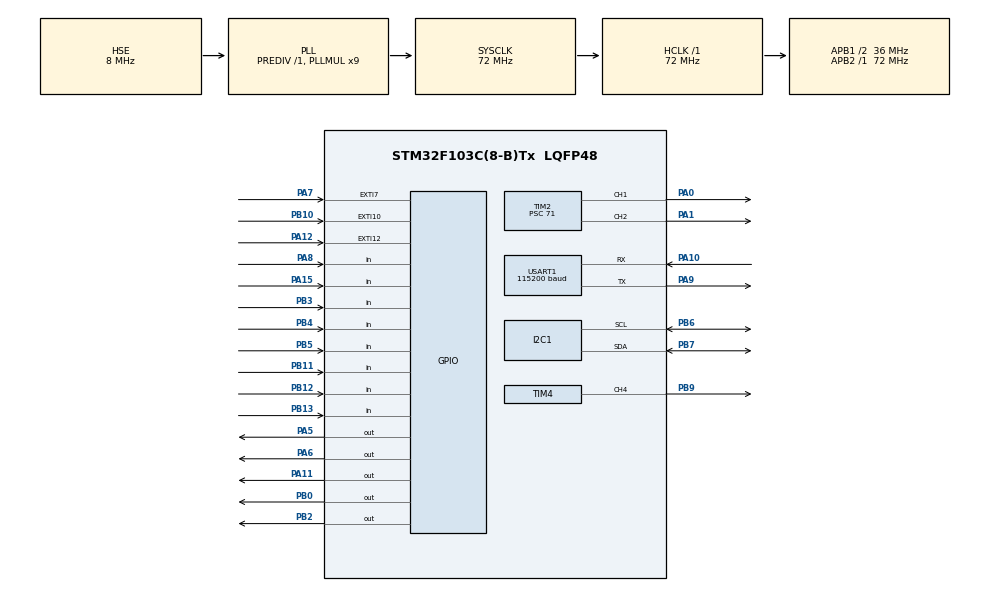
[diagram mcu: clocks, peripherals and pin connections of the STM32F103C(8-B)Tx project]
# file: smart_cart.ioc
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Mcu.Family=STM32F1
Mcu.Name=STM32F103C(8-B)Tx
Mcu.Package=LQFP48
NVIC.EXTI15_10_IRQn=true\:0\:0\:false\:false\:true\:true\:true\:true
NVIC.EXTI9_5_IRQn=true\:0\:0\:false\:false\:true\:true\:true\:true
NVIC.PriorityGroup=NVIC_PRIORITYGROUP_4
NVIC.TIM3_IRQn=true\:0\:0\:false\:false\:true\:true\:true\:true
NVIC.USART1_IRQn=true\:1\:0\:true\:false\:true\:true\:true\:true
PA0-WKUP.Signal=S_TIM2_CH1_ETR
PA1.Signal=S_TIM2_CH2
PA10.Mode=Asynchronous
PA10.Signal=USART1_RX
PA11.Signal=GPIO_Output
PA12.Signal=GPXTI12
PA13.Mode=Serial_Wire
PA13.Signal=SYS_JTMS-SWDIO
PA14.Mode=Serial_Wire
PA14.Signal=SYS_JTCK-SWCLK
PA15.Signal=GPIO_Input
PA5.Signal=GPIO_Output
PA6.Signal=GPIO_Output
PA7.GPIO_ModeDefaultEXTI=GPIO_MODE_IT_FALLING
PA7.Signal=GPXTI7
PA8.Signal=GPIO_Input
PA9.Mode=Asynchronous
PA9.Signal=USART1_TX
PB0.Signal=GPIO_Output
PB10.Signal=GPXTI10
PB11.GPIO_PuPd=GPIO_NOPULL
PB11.Signal=GPIO_Input
PB12.GPIO_PuPd=GPIO_NOPULL
PB12.Signal=GPIO_Input
PB13.GPIO_PuPd=GPIO_NOPULL
PB13.Signal=GPIO_Input
PB2.Signal=GPIO_Output
PB3.Signal=GPIO_Input
PB4.Signal=GPIO_Input
PB5.Signal=GPIO_Input
PB6.Mode=I2C
PB6.Signal=I2C1_SCL
PB7.Mode=I2C
PB7.Signal=I2C1_SDA
PB9.Signal=S_TIM4_CH4
PD0-OSC_IN.Mode=HSE-External-Oscillator
PD0-OSC_IN.Signal=RCC_OSC_IN
PD1-OSC_OUT.Mode=HSE-External-Oscillator
PD1-OSC_OUT.Signal=RCC_OSC_OUT
ProjectManager.HeapSize=0x200
ProjectManager.StackSize=0x400
ProjectManager.TargetToolchain=MDK-ARM V5.32
RCC.AHBFreq_Value=72000000
RCC.APB1CLKDivider=RCC_HCLK_DIV2
RCC.APB1Freq_Value=36000000
RCC.APB1TimFreq_Value=72000000
RCC.APB2Freq_Value=72000000
RCC.APB2TimFreq_Value=72000000
RCC.HCLKFreq_Value=72000000
RCC.PLLMUL=RCC_PLL_MUL9
RCC.PLLSourceVirtual=RCC_PLLSOURCE_HSE
RCC.SYSCLKFreq_VALUE=72000000
RCC.SYSCLKSource=RCC_SYSCLKSOURCE_PLLCLK
RCC.USBFreq_Value=72000000
SH.S_TIM2_CH1_ETR.0=TIM2_CH1,PWM Generation1 CH1
SH.S_TIM2_CH2.0=TIM2_CH2,PWM Generation2 CH2
SH.S_TIM4_CH4.0=TIM4_CH4,PWM Generation4 CH4
TIM1.AutoReloadPreload=TIM_AUTORELOAD_PRELOAD_ENABLE
TIM1.Prescaler=71
TIM1.RepetitionCounter=0
TIM2.AutoReloadPreload=TIM_AUTORELOAD_PRELOAD_ENABLE
TIM2.Channel-PWM\ Generation1\ CH1=TIM_CHANNEL_1
TIM2.Channel-PWM\ Generation2\ CH2=TIM_CHANNEL_2
TIM2.OCMode_PWM-PWM\ Generation1\ CH1=TIM_OCMODE_PWM1
TIM2.OCMode_PWM-PWM\ Generation2\ CH2=TIM_OCMODE_PWM1
TIM2.OCPolarity_1=TIM_OCPOLARITY_HIGH
TIM2.OCPolarity_2=TIM_OCPOLARITY_HIGH
TIM2.Period=19
TIM2.Prescaler=71
TIM3.AutoReloadPreload=TIM_AUTORELOAD_PRELOAD_ENABLE
TIM3.Period=9999
TIM3.Prescaler=7199
TIM4.AutoReloadPreload=TIM_AUTORELOAD_PRELOAD_ENABLE
TIM4.Channel-PWM\ Generation4\ CH4=TIM_CHANNEL_4
TIM4.Period=199
TIM4.Prescaler=7199
USART1.BaudRate=115200
USART1.VirtualMode=VM_ASYNC
VP_TIM1_VS_ClockSourceINT.Mode=Internal
VP_TIM2_VS_ClockSourceINT.Mode=Internal
VP_TIM3_VS_ClockSourceINT.Mode=Internal
VP_TIM4_VS_ClockSourceINT.Mode=Internal
board=custom

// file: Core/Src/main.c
/* USER CODE BEGIN Header */
/**
  ******************************************************************************
  * @file           : main.c
  * @brief          : Main program body
  ******************************************************************************
  * @attention
  *
  * Copyright (c) 2023 STMicroelectronics.
  * All rights reserved.
  *
  * This software is licensed under terms that can be found in the LICENSE file
  * in the root directory of this software component.
  * If no LICENSE file comes with this software, it is provided AS-IS.
  *
  ******************************************************************************
  */
/* USER CODE END Header */
#include "main.h"
#include "i2c.h"
#include "tim.h"
#include "usart.h"
#include "gpio.h"

/* USER CODE BEGIN Includes */
#include "car_function.h"
#include "motor.h"
#include "stdio.h"
#include "sensor.h"
#include "sg90.h"
#include "sr04.h"
#include "su03.h"
#include "oled.h"
#include "iic_paj7620.h"

/* USER CODE END Includes */

/* USER CODE BEGIN PM */
#define MIDDLE 0
#define LEFT 1
#define RIGHT 2
/* USER CODE END PM */

/* USER CODE BEGIN PV */
unsigned int speedCnt;
char speedString[24];
/* USER CODE END PV */

void SystemClock_Config(void);
/* USER CODE BEGIN PFP */
int fputc(int ch, FILE *file) {
	unsigned char temp[1] = {ch};
	HAL_UART_Transmit(&huart1, temp, 1, 0xfff);
	return ch;
}

void HAL_TIM_PeriodElapsedCallback(TIM_HandleTypeDef *htim) {
	// 展示速度
	//oled部分清屏
	sprintf(speedString, "speed:%4dcm/s", speedCnt);
	//old__clear_bottom_half();
	oled_show_string(2,2,speedString);
	speedCnt = 0;
}

void HAL_GPIO_EXTI_Callback(uint16_t GPIO_Pin) {
	//脉冲测速
	if(GPIO_Pin == GPIO_PIN_10) {
		if (HAL_GPIO_ReadPin(GPIOB, GPIO_PIN_10) == GPIO_PIN_RESET)
			speedCnt++;
	}
	//超声波echo
	if(GPIO_Pin == GPIO_PIN_12) {
		//while(HAL_GPIO_ReadPin(GPIOA, GPIO_PIN_12) == GPIO_PIN_RESET);
		HAL_TIM_Base_Start(&htim1);
		__HAL_TIM_SetCounter(&htim1, 0);

		while(HAL_GPIO_ReadPin(GPIOA, GPIO_PIN_12) == GPIO_PIN_SET);
		HAL_TIM_Base_Stop(&htim1);

		int cnt = __HAL_TIM_GetCounter(&htim1);
		distance = 340 * 0.000001 * cnt * 100 / 2;
	}
	//手势中断
	if(GPIO_Pin == GPIO_PIN_7) {
		uint16_t gCode = 0;
		gCode = paj7620_get_gesture();
		status = gCode;
		printf("%d====》", gCode);
	}

}
/* USER CODE END PFP */

int main(void)
{

  /* MCU Configuration--------------------------------------------------------*/

  /* Reset of all peripherals, Initializes the Flash interface and the Systick. */
  HAL_Init();

  /* Configure the system clock */
  SystemClock_Config();

  /* Initialize all configured peripherals */
  MX_GPIO_Init();
  MX_USART1_UART_Init();
  MX_TIM2_Init();
  MX_TIM4_Init();
  MX_TIM1_Init();
  MX_TIM3_Init();
  MX_I2C1_Init();
  /* USER CODE BEGIN 2 */
	init();
	changeMode(NORMAL);
  /* USER CODE END 2 */

  /* Infinite loop */
  while (1)
  {

    /* USER CODE BEGIN 3 */
		get_mode();
		reset();
		switch(runMode) {
			case tracingMode:
				traceing();
				break;
			case followMode:
				follow();
				break;
			case avoidMode:
				avoid();
				break;
			case gestureMode:
				gesture();
				break;
			case testMode:
				test();
				break;
			case stopMode:
				stop_car();
				break;
		}
		display_temp_humi();
  }

  /* USER CODE END 3 */
}

void SystemClock_Config(void)
{
  RCC_OscInitTypeDef RCC_OscInitStruct = {0};
  RCC_ClkInitTypeDef RCC_ClkInitStruct = {0};

  /** Initializes the RCC Oscillators according to the specified parameters
  * in the RCC_OscInitTypeDef structure.
  */
  RCC_OscInitStruct.OscillatorType = RCC_OSCILLATORTYPE_HSE;
  RCC_OscInitStruct.HSEState = RCC_HSE_ON;
  RCC_OscInitStruct.HSEPredivValue = RCC_HSE_PREDIV_DIV1;
  RCC_OscInitStruct.HSIState = RCC_HSI_ON;
  RCC_OscInitStruct.PLL.PLLState = RCC_PLL_ON;
  RCC_OscInitStruct.PLL.PLLSource = RCC_PLLSOURCE_HSE;
  RCC_OscInitStruct.PLL.PLLMUL = RCC_PLL_MUL9;
  if (HAL_RCC_OscConfig(&RCC_OscInitStruct) != HAL_OK)
  {
    Error_Handler();
  }

  /** Initializes the CPU, AHB and APB buses clocks
  */
  RCC_ClkInitStruct.ClockType = RCC_CLOCKTYPE_HCLK|RCC_CLOCKTYPE_SYSCLK
                              |RCC_CLOCKTYPE_PCLK1|RCC_CLOCKTYPE_PCLK2;
  RCC_ClkInitStruct.SYSCLKSource = RCC_SYSCLKSOURCE_PLLCLK;
  RCC_ClkInitStruct.AHBCLKDivider = RCC_SYSCLK_DIV1;
  RCC_ClkInitStruct.APB1CLKDivider = RCC_HCLK_DIV2;
  RCC_ClkInitStruct.APB2CLKDivider = RCC_HCLK_DIV1;

  if (HAL_RCC_ClockConfig(&RCC_ClkInitStruct, FLASH_LATENCY_2) != HAL_OK)
  {
    Error_Handler();
  }
}

void Error_Handler(void)
{
  __disable_irq();
  while (1)
  {
  }
}
